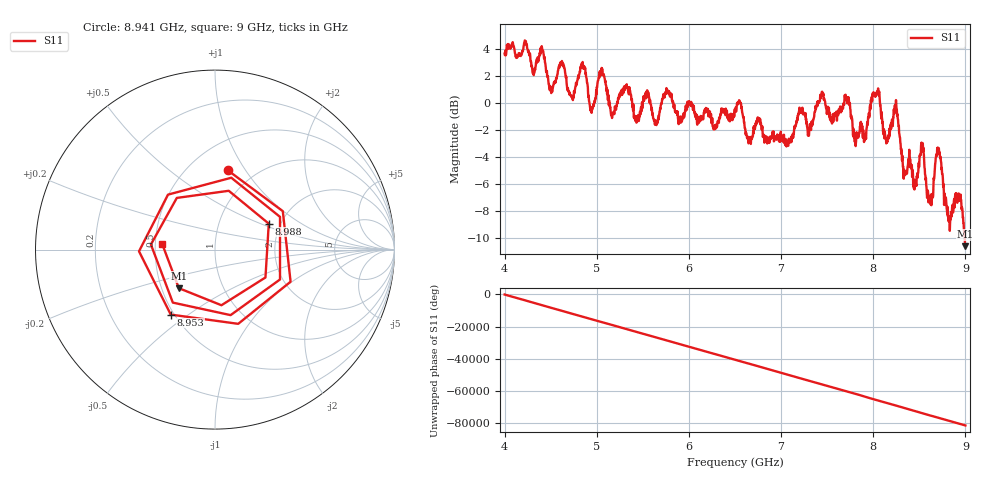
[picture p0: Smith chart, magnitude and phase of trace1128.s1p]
! Created with skrf 1.8.0 (http://scikit-rf.org).
# Hz S RI R 50.0
!freq ReS11 ImS11
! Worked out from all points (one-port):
!   1601 points, 4 GHz to 9 GHz, reference 50 ohm
!   lowest |S11| = -10.6 dB at 8.997 GHz (marker M1), VSWR 1.83, Z = 30.7 - j14.4 ohm
!   |S11| at or under -10 dB: 8.992622 GHz to end of sweep
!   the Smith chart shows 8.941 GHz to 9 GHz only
!   S11 on the Smith chart (normalised r, x): 8.941 GHz: 0.75, +0.83; 8.953 GHz: 0.48, -0.43; 8.988 GHz: 1.74, +0.57; 9 GHz: 0.54, +0.04
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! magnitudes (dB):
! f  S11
! 4 GHz  3.6
! 4.406 GHz  4.0
! 4.503 GHz  0.9
! 4.625 GHz  3.0
! 4.725 GHz  0.5
! 4.856 GHz  2.5
! 4.944 GHz  -0.7
! 5.05 GHz  2.0
! 5.169 GHz  -0.9
! 5.25 GHz  0.6
! 5.875 GHz  -0.9
! 6.5 GHz  -0.7
! 7.125 GHz  -2.4
! 7.75 GHz  -0.4
! 7.909 GHz  -2.8
! 8.044 GHz  0.9
! 8.147 GHz  -3.0
! 8.244 GHz  -0.2
! 8.375 GHz  -4.7
! 8.528 GHz  -3.0
! 8.625 GHz  -7.0
! 8.706 GHz  -3.7
! 8.822 GHz  -8.4
! 8.941 GHz  -7.0
! 8.953 GHz  -7.2
! 8.988 GHz  -9.6
! 8.997 GHz  -10.6
! 9 GHz  -10.6
